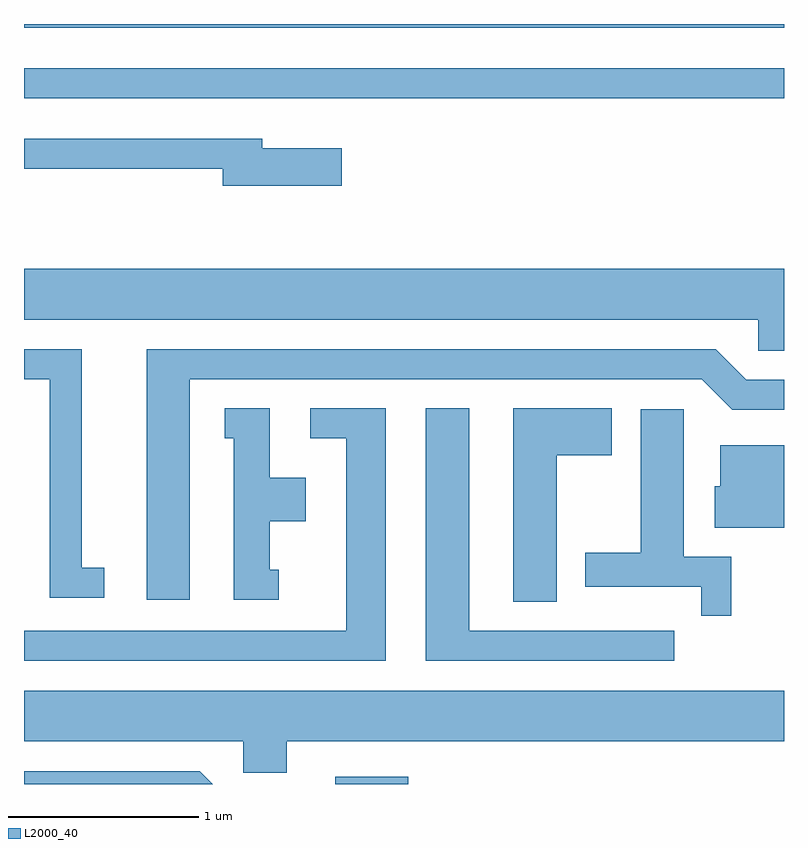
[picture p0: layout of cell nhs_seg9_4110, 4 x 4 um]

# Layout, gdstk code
import gdstk
lib = gdstk.Library(unit=1e-6, precision=1e-09)
def R(c, l, rs):  # rectangles x0, y0, x1, y1
    for r in rs: c.add(gdstk.rectangle(r[:2], r[2:], *l))
def P(c, l, *ps):  # polygons
    for p in ps: c.add(gdstk.Polygon(p, *l))
L2000_40 = (2000, 40)

nhs_seg9_4110 = lib.new_cell('nhs_seg9_4110')
R(nhs_seg9_4110, L2000_40, [(307.248,2040.432,307.634,2040.469), (305.611,2044.041,309.611,2044.199), (305.611,2044.411,309.611,2044.432)])
P(nhs_seg9_4110, L2000_40, [(307.284,2043.779),(306.864,2043.779),(306.864,2043.829),(305.611,2043.829),(305.611,2043.671),(306.656,2043.671),(306.656,2043.581),(307.284,2043.581)],
  [(309.611,2043.144),(305.611,2043.144),(305.611,2042.876),(309.476,2042.876),(309.476,2042.711),(309.611,2042.711)],
  [(306.484,2042.561),(309.179,2042.561),(309.339,2042.401),(309.611,2042.401),(309.611,2042.559),(309.412,2042.559),(309.252,2042.719),(306.256,2042.719),(306.256,2041.401),(306.484,2041.401)],
  [(306.033,2041.569),(305.914,2041.569),(305.914,2042.719),(305.611,2042.719),(305.611,2042.561),(305.746,2042.561),(305.746,2041.411),(306.033,2041.411)],
  [(308.414,2042.161),(308.704,2042.161),(308.704,2042.409),(308.186,2042.409),(308.186,2041.391),(308.414,2041.391)],
  [(306.953,2041.559),(306.904,2041.559),(306.904,2041.816),(307.094,2041.816),(307.094,2042.044),(306.904,2042.044),(306.904,2042.409),(306.668,2042.409),(306.668,2042.251),(306.716,2042.251),(306.716,2041.401),(306.953,2041.401)],
  [(307.514,2042.409),(307.118,2042.409),(307.118,2042.251),(307.306,2042.251),(307.306,2041.239),(305.611,2041.239),(305.611,2041.081),(307.514,2041.081)],
  [(309.033,2041.239),(307.954,2041.239),(307.954,2042.409),(307.726,2042.409),(307.726,2041.081),(309.033,2041.081)],
  [(309.334,2041.629),(309.084,2041.629),(309.084,2042.404),(308.856,2042.404),(308.856,2041.649),(308.566,2041.649),(308.566,2041.471),(309.176,2041.471),(309.176,2041.318),(309.334,2041.318)],
  [(309.611,2042.214),(309.276,2042.214),(309.276,2041.999),(309.246,2041.999),(309.246,2041.781),(309.611,2041.781)],
  [(306.994,2040.656),(309.611,2040.656),(309.611,2040.924),(305.611,2040.924),(305.611,2040.656),(306.766,2040.656),(306.766,2040.491),(306.994,2040.491)],
  [(306.537,2040.499),(305.611,2040.499),(305.611,2040.432),(306.604,2040.432)])

lib.write_gds('nhs_seg9_4110.gds')
